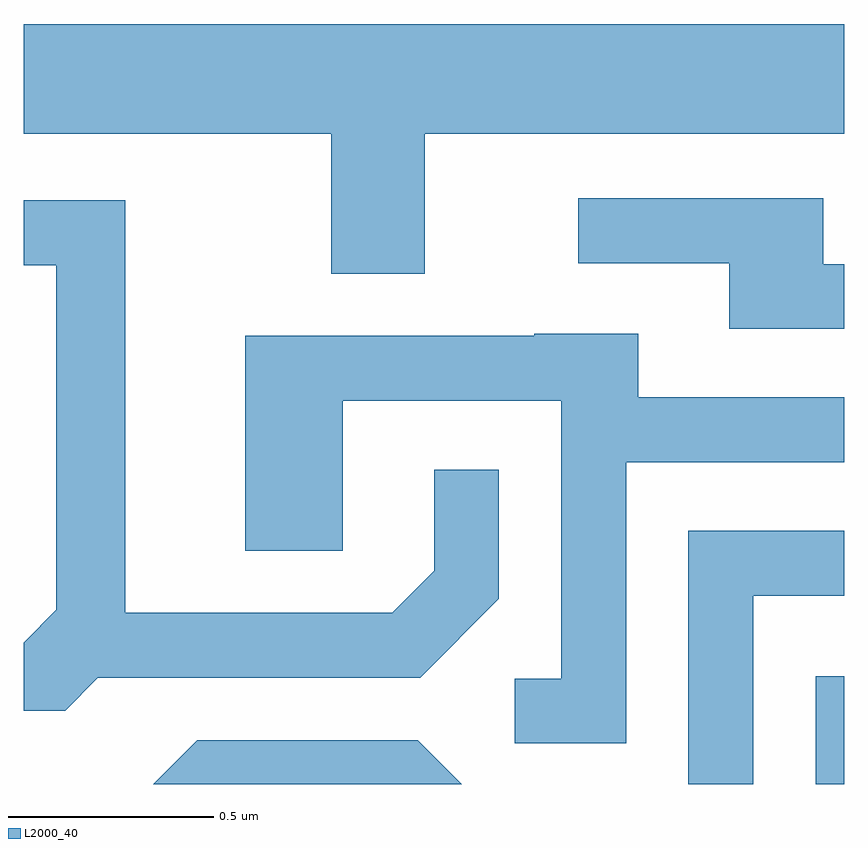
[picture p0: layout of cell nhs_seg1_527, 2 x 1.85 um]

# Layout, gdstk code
import gdstk
lib = gdstk.Library(unit=1e-6, precision=1e-09)
def R(c, l, rs):  # rectangles x0, y0, x1, y1
    for r in rs: c.add(gdstk.rectangle(r[:2], r[2:], *l))
def P(c, l, *ps):  # polygons
    for p in ps: c.add(gdstk.Polygon(p, *l))
L2000_40 = (2000, 40)

nhs_seg1_527 = lib.new_cell('nhs_seg1_527')
R(nhs_seg1_527, L2000_40, [(190.541,955.712,190.611,955.974)])
P(nhs_seg1_527, L2000_40, [(189.589,957.296),(190.611,957.296),(190.611,957.564),(188.611,957.564),(188.611,957.296),(189.361,957.296),(189.361,956.956),(189.589,956.956)],
  [(190.611,956.979),(190.559,956.979),(190.559,957.139),(189.963,957.139),(189.963,956.981),(190.331,956.981),(190.331,956.821),(190.611,956.821)],
  [(188.792,955.971),(189.577,955.971),(189.769,956.164),(189.769,956.478),(189.611,956.478),(189.611,956.232),(189.509,956.129),(188.859,956.129),(188.859,957.134),(188.611,957.134),(188.611,956.976),(188.691,956.976),(188.691,956.137),(188.611,956.056),(188.611,955.891),(188.712,955.891)],
  [(190.079,956.496),(190.611,956.496),(190.611,956.654),(190.109,956.654),(190.109,956.809),(189.855,956.809),(189.855,956.804),(189.151,956.804),(189.151,956.281),(189.389,956.281),(189.389,956.646),(189.921,956.646),(189.921,955.969),(189.808,955.969),(189.808,955.811),(190.079,955.811)],
  [(190.389,956.171),(190.611,956.171),(190.611,956.329),(190.231,956.329),(190.231,955.712),(190.389,955.712)],
  [(189.572,955.819),(189.034,955.819),(188.927,955.712),(189.679,955.712)])

lib.write_gds('nhs_seg1_527.gds')
